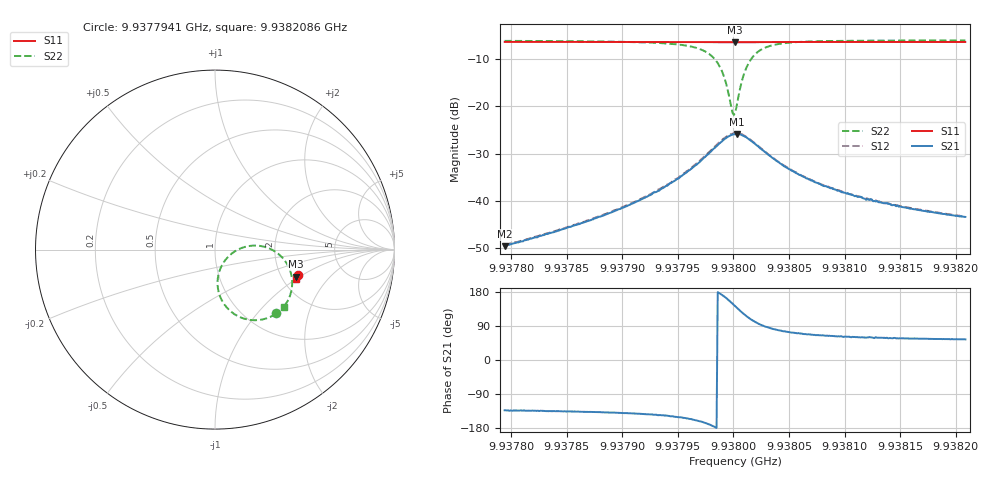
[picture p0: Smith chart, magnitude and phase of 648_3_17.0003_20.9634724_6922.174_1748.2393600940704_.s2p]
#  HZ  S  RI  R  50.00
! Rohde & Schwarz Vector Network Analyzer
! Rohde-Schwarz,ZNB20-2Port,1311601062101988,3.16
! Created: UTC 3/20/2024, 11:21:08 PM
! freq[Hz]  re:S11  im:S11  re:S21  im:S21  re:S12  im:S12  re:S22  im:S22
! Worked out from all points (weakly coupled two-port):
!   401 points, 9.9377941 GHz to 9.9382086 GHz, reference 50 ohm
!   highest |S21| = -25.85 dB at 9.9380035 GHz (marker M1); lowest = -49.6 dB at 9.9377941 GHz (marker M2)
!   lowest |S11| = -6.5 dB at 9.9380014 GHz (marker M3), VSWR 2.81, Z = 119 - j46.5 ohm
!   |S11| at or under -10 dB: nowhere
!   |S22| runs from -21.8 to -6.1 dB; largest |S21 - S12| = 0.0022
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9.93779415e9  0.4604 -0.1408  -0.00226 -0.00244  -0.00238 -0.00248  0.3411 -0.3559
9.93786357e9  0.4586 -0.1457  -0.00426 -0.00403  -0.00438 -0.004  0.3201 -0.369
9.93789984e9  0.4575 -0.1483  -0.00646 -0.00544  -0.00665 -0.00547  0.2984 -0.379
9.937933e9  0.4561 -0.1507  -0.0105 -0.00726  -0.011 -0.00741  0.2598 -0.3901
9.93796408e9  0.4541 -0.1531  -0.0212 -0.00867  -0.0218 -0.00853  0.1718 -0.3874
9.93798066e9  0.452 -0.1539  -0.034 -0.00394  -0.035 -0.00346  0.0733 -0.3309
9.93798584e9  0.4511 -0.1539  -0.039 0.000751  -0.0402 0.00156  0.0387 -0.2841
9.93798999e9  0.4505 -0.1533  -0.0425 0.00664  -0.0437 0.00802  0.0189 -0.2297
9.93799309e9  0.4502 -0.1531  -0.0443 0.0123  -0.0452 0.014  0.0142 -0.1792
9.93799828e9  0.4499 -0.152  -0.0436 0.0241  -0.0439 0.026  0.039 -0.0865
9.93800035e9  0.4499 -0.1516  -0.0417 0.0288  -0.0418 0.0308  0.0625 -0.0522
9.93800138e9  0.4499 -0.1512  -0.0404 0.0308  -0.0402 0.033  0.0765 -0.0371
9.93800346e9  0.4501 -0.1508  -0.0372 0.0349  -0.0368 0.037  0.1094 -0.0106
9.9380076e9  0.4508 -0.1502  -0.0289 0.0404  -0.0282 0.0423  0.1848 0.0192
9.93801071e9  0.4515 -0.1502  -0.0223 0.0421  -0.0212 0.0435  0.2405 0.0217
9.93801485e9  0.4524 -0.1502  -0.0143 0.0419  -0.0132 0.0429  0.3035 0.00586
9.93802107e9  0.4534 -0.1508  -0.00551 0.0383  -0.00413 0.0389  0.3683 -0.0376
9.93803765e9  0.4543 -0.153  0.00445 0.0269  0.00521 0.0268  0.4262 -0.1453
9.93807081e9  0.4539 -0.1564  0.00649 0.0152  0.00686 0.015  0.4224 -0.2426
9.93809982e9  0.4531 -0.1588  0.00581 0.0108  0.00607 0.0108  0.4095 -0.2765
9.93814023e9  0.4521 -0.1617  0.00497 0.00794  0.00523 0.00769  0.3963 -0.3003
9.93820862e9  0.4502 -0.1663  0.00395 0.00552  0.0041 0.00549  0.3817 -0.3201
